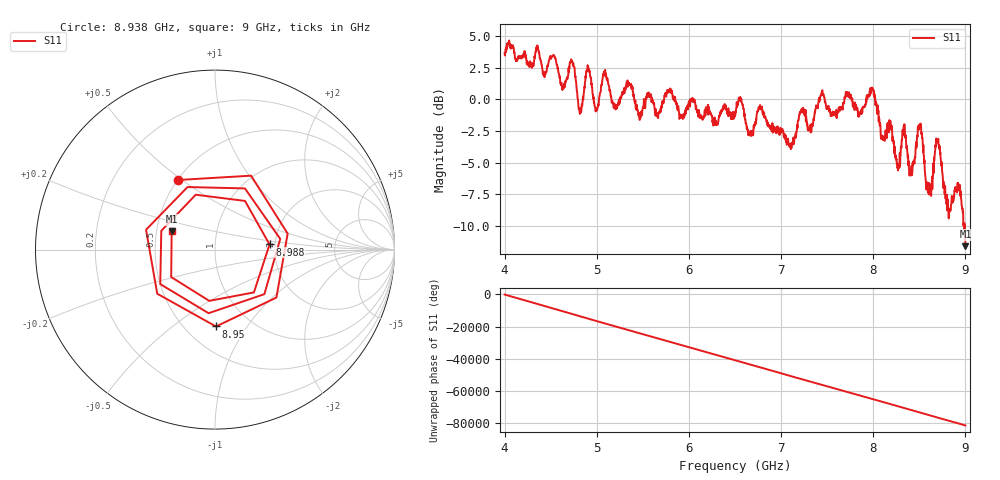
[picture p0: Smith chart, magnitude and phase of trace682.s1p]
! Created with skrf 1.8.0 (http://scikit-rf.org).
# Hz S RI R 50.0
!freq ReS11 ImS11
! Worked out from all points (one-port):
!   1601 points, 4 GHz to 9 GHz, reference 50 ohm
!   lowest |S11| = -11.6 dB at 9 GHz (marker M1), VSWR 1.71, Z = 30 + j6.64 ohm
!   |S11| at or under -10 dB: 8.984685 GHz to 8.989942 GHz (5.258 MHz wide, 0.0585 % of centre); 8.991503 GHz to end of sweep
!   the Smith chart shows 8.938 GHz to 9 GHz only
!   S11 on the Smith chart (normalised r, x): 8.938 GHz: 0.51, +0.48; 8.95 GHz: 0.70, -0.73; 8.988 GHz: 1.87, +0.12; 9 GHz: 0.60, +0.13
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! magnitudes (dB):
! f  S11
! 4 GHz  3.7
! 4.531 GHz  3.5
! 4.625 GHz  1.0
! 4.731 GHz  3.1
! 4.819 GHz  -1.1
! 4.903 GHz  2.6
! 4.994 GHz  -0.9
! 5.084 GHz  1.9
! 5.25 GHz  0.0
! 5.875 GHz  -0.7
! 6.5 GHz  -1.2
! 7.125 GHz  -3.6
! 7.434 GHz  0.3
! 7.75 GHz  0.4
! 7.991 GHz  0.9
! 8.106 GHz  -3.2
! 8.266 GHz  -5.3
! 8.334 GHz  -2.5
! 8.375 GHz  -4.6
! 8.419 GHz  -6.0
! 8.509 GHz  -2.2
! 8.597 GHz  -7.4
! 8.697 GHz  -3.3
! 8.816 GHz  -8.6
! 8.938 GHz  -7.2
! 8.95 GHz  -7.4
! 8.988 GHz  -10.3
! 9 GHz  -11.6
